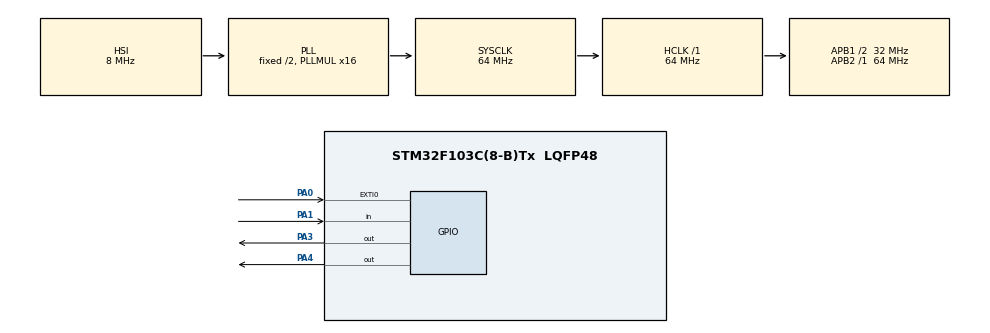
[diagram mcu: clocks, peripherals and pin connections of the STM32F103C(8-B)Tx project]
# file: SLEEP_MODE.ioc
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Mcu.Family=STM32F1
Mcu.Name=STM32F103C(8-B)Tx
Mcu.Package=LQFP48
NVIC.EXTI0_IRQn=true\:0\:0\:false\:false\:true\:true\:true\:true
NVIC.PriorityGroup=NVIC_PRIORITYGROUP_4
PA0-WKUP.Signal=GPXTI0
PA1.Signal=GPIO_Input
PA13.Mode=Serial_Wire
PA13.Signal=SYS_JTMS-SWDIO
PA14.Mode=Serial_Wire
PA14.Signal=SYS_JTCK-SWCLK
PA3.Signal=GPIO_Output
PA4.Signal=GPIO_Output
ProjectManager.HeapSize=0x200
ProjectManager.StackSize=0x400
ProjectManager.TargetToolchain=STM32CubeIDE
RCC.AHBFreq_Value=64000000
RCC.APB1CLKDivider=RCC_HCLK_DIV2
RCC.APB1Freq_Value=32000000
RCC.APB1TimFreq_Value=64000000
RCC.APB2Freq_Value=64000000
RCC.APB2TimFreq_Value=64000000
RCC.HCLKFreq_Value=64000000
RCC.PLLMUL=RCC_PLL_MUL16
RCC.SYSCLKFreq_VALUE=64000000
RCC.SYSCLKSource=RCC_SYSCLKSOURCE_PLLCLK
RCC.USBFreq_Value=64000000
board=custom

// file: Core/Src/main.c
/* USER CODE BEGIN Header */
/**
  ******************************************************************************
  * @file           : main.c
  * @brief          : Main program body
  ******************************************************************************
  * @attention
  *
  * Copyright (c) 2026 STMicroelectronics.
  * All rights reserved.
  *
  * This software is licensed under terms that can be found in the LICENSE file
  * in the root directory of this software component.
  * If no LICENSE file comes with this software, it is provided AS-IS.
  *
  ******************************************************************************
  */
/* USER CODE END Header */
#include "main.h"

/* USER CODE BEGIN PD */
volatile uint8_t SleepMode_Activated = 0;   // Flag: CPU is in sleep (shared with EXTI ISR)
volatile uint8_t EnterSleepFlag = 0;        // Flag: request to enter sleep (shared with EXTI ISR)
uint8_t Button_state = 0;
/* USER CODE END PD */

void SystemClock_Config(void);
static void MX_GPIO_Init(void);

/* USER CODE BEGIN 0 */
void blink_led(void)
{
    static uint32_t lastTick = 0;
    static uint8_t state = 0;

    if (state == 0) { // LED OFF
        if (HAL_GetTick() - lastTick >= 950) {
            HAL_GPIO_WritePin(GPIOA, GPIO_PIN_3, GPIO_PIN_RESET);
            state = 1;
            lastTick = HAL_GetTick();
        }
    } else { // LED ON
        if (HAL_GetTick() - lastTick >= 50) {
            HAL_GPIO_WritePin(GPIOA, GPIO_PIN_3, GPIO_PIN_SET);
            state = 0;
            lastTick = HAL_GetTick();
        }
    }
}
/* USER CODE END 0 */

int main(void)
{

  /* MCU Configuration--------------------------------------------------------*/

  /* Reset of all peripherals, Initializes the Flash interface and the Systick. */
  HAL_Init();

  /* Configure the system clock */
  SystemClock_Config();

  /* Initialize all configured peripherals */
  MX_GPIO_Init();
  /* USER CODE BEGIN 2 */
  /* Drive PA3 high only after MX_GPIO_Init() has enabled the GPIOA clock */
  HAL_GPIO_WritePin(GPIOA, GPIO_PIN_3, GPIO_PIN_SET);
  /* USER CODE END 2 */

  /* Infinite loop */
  /* USER CODE BEGIN WHILE */
  while (1) {
		if (EnterSleepFlag)
    {
        /* Mask interrupts so a PA0 edge cannot be handled between setting
         * SleepMode_Activated and executing WFI. With PRIMASK set, WFI still
         * returns as soon as an enabled interrupt becomes pending. */
        __disable_irq();
        EnterSleepFlag = 0;
        SleepMode_Activated = 1;
        HAL_SuspendTick();

        /* Stay asleep until the PA0 ISR clears SleepMode_Activated.
         * Any other wakeup (e.g. a SysTick that was already pending)
         * simply goes back to sleep. */
        while (SleepMode_Activated)
        {
            HAL_PWR_EnterSLEEPMode(PWR_MAINREGULATOR_ON, PWR_SLEEPENTRY_WFI);
            __enable_irq();   /* let the pending ISR run */
            __ISB();
            __disable_irq();
        }

        __enable_irq();
        HAL_ResumeTick();     /* woken up by PA0: restart SysTick */
    }

		Button_state = HAL_GPIO_ReadPin(GPIOA, GPIO_PIN_1);

    if (Button_state == GPIO_PIN_SET)
    {
        HAL_GPIO_WritePin(GPIOA, GPIO_PIN_4, GPIO_PIN_RESET);
    }
    else
    {
        HAL_GPIO_WritePin(GPIOA, GPIO_PIN_4, GPIO_PIN_SET);
    }

		blink_led();

    /* USER CODE END WHILE */

  }
}

void SystemClock_Config(void)
{
  RCC_OscInitTypeDef RCC_OscInitStruct = {0};
  RCC_ClkInitTypeDef RCC_ClkInitStruct = {0};

  /** Initializes the RCC Oscillators according to the specified parameters
  * in the RCC_OscInitTypeDef structure.
  */
  RCC_OscInitStruct.OscillatorType = RCC_OSCILLATORTYPE_HSI;
  RCC_OscInitStruct.HSIState = RCC_HSI_ON;
  RCC_OscInitStruct.HSICalibrationValue = RCC_HSICALIBRATION_DEFAULT;
  RCC_OscInitStruct.PLL.PLLState = RCC_PLL_ON;
  RCC_OscInitStruct.PLL.PLLSource = RCC_PLLSOURCE_HSI_DIV2;
  RCC_OscInitStruct.PLL.PLLMUL = RCC_PLL_MUL16;
  if (HAL_RCC_OscConfig(&RCC_OscInitStruct) != HAL_OK)
  {
    Error_Handler();
  }

  /** Initializes the CPU, AHB and APB buses clocks
  */
  RCC_ClkInitStruct.ClockType = RCC_CLOCKTYPE_HCLK|RCC_CLOCKTYPE_SYSCLK
                              |RCC_CLOCKTYPE_PCLK1|RCC_CLOCKTYPE_PCLK2;
  RCC_ClkInitStruct.SYSCLKSource = RCC_SYSCLKSOURCE_PLLCLK;
  RCC_ClkInitStruct.AHBCLKDivider = RCC_SYSCLK_DIV1;
  RCC_ClkInitStruct.APB1CLKDivider = RCC_HCLK_DIV2;
  RCC_ClkInitStruct.APB2CLKDivider = RCC_HCLK_DIV1;

  if (HAL_RCC_ClockConfig(&RCC_ClkInitStruct, FLASH_LATENCY_2) != HAL_OK)
  {
    Error_Handler();
  }
}

static void MX_GPIO_Init(void)
{
  GPIO_InitTypeDef GPIO_InitStruct = {0};

  /* GPIO Ports Clock Enable */
  __HAL_RCC_GPIOA_CLK_ENABLE();

  /*Configure GPIO pin Output Level */
  HAL_GPIO_WritePin(GPIOA, GPIO_PIN_3|GPIO_PIN_4, GPIO_PIN_RESET);

  /*Configure GPIO pin : PA0 */
  GPIO_InitStruct.Pin = GPIO_PIN_0;
  GPIO_InitStruct.Mode = GPIO_MODE_IT_RISING;
  GPIO_InitStruct.Pull = GPIO_NOPULL;
  HAL_GPIO_Init(GPIOA, &GPIO_InitStruct);

  /*Configure GPIO pin : PA1 */
  GPIO_InitStruct.Pin = GPIO_PIN_1;
  GPIO_InitStruct.Mode = GPIO_MODE_INPUT;
  GPIO_InitStruct.Pull = GPIO_NOPULL;
  HAL_GPIO_Init(GPIOA, &GPIO_InitStruct);

  /*Configure GPIO pins : PA3 PA4 */
  GPIO_InitStruct.Pin = GPIO_PIN_3|GPIO_PIN_4;
  GPIO_InitStruct.Mode = GPIO_MODE_OUTPUT_PP;
  GPIO_InitStruct.Pull = GPIO_NOPULL;
  GPIO_InitStruct.Speed = GPIO_SPEED_FREQ_LOW;
  HAL_GPIO_Init(GPIOA, &GPIO_InitStruct);

  /* EXTI interrupt init*/
  HAL_NVIC_SetPriority(EXTI0_IRQn, 0, 0);
  HAL_NVIC_EnableIRQ(EXTI0_IRQn);

}

/* USER CODE BEGIN 4 */
/**
  * @brief EXTI line callback for PA0
  */
void HAL_GPIO_EXTI_Callback(uint16_t GPIO_Pin)
{
    if(GPIO_Pin == GPIO_PIN_0) // Sleep control button
    {
        if(SleepMode_Activated == 1) {
            SleepMode_Activated = 0; // Wake up: main loop resumes SysTick
        } else {
            EnterSleepFlag = 1;     // Enter sleep on next loop
        }
    }
}
/* USER CODE END 4 */

void Error_Handler(void)
{
  __disable_irq();
  while (1)
  {
  }
}
